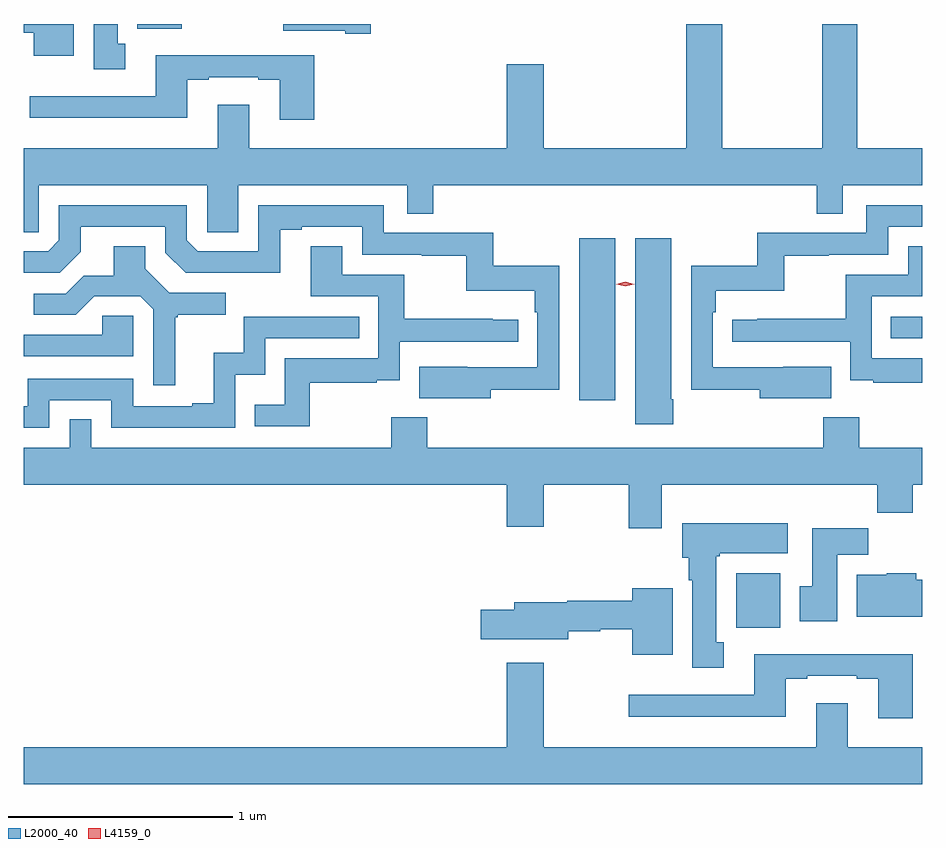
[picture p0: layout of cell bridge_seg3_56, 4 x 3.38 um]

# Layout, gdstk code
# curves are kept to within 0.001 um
import gdstk
lib = gdstk.Library(unit=1e-6, precision=1e-09)
def R(c, l, rs):  # rectangles x0, y0, x1, y1
    for r in rs: c.add(gdstk.rectangle(r[:2], r[2:], *l))
def P(c, l, *ps):  # polygons
    for p in ps: c.add(gdstk.Polygon(p, *l))
L2000_40 = (2000, 40)
L4159_0 = (4159, 0)

bridge_seg3_56 = lib.new_cell('bridge_seg3_56')
R(bridge_seg3_56, L2000_40, [(933.26,682.964,933.457,683.206), (932.561,683.976,932.722,684.697), (933.949,684.252,934.089,684.348), (930.596,685.628,930.793,685.65)])
P(bridge_seg3_56, L2000_40, [(930.156,684.932),(930.906,684.932),(930.906,684.724),(931.045,684.724),(931.045,684.932),(931.797,684.932),(931.797,684.805),(931.913,684.805),(931.913,684.932),(933.619,684.932),(933.619,684.805),(933.735,684.805),(933.735,684.932),(934.089,684.932),(934.089,685.096),(933.798,685.096),(933.798,685.65),(933.643,685.65),(933.643,685.096),(933.198,685.096),(933.198,685.65),(933.038,685.65),(933.038,685.096),(932.404,685.096),(932.404,685.471),(932.24,685.471),(932.24,685.096),(931.093,685.096),(931.093,685.291),(930.953,685.291),(930.953,685.096),(930.089,685.096),(930.089,684.724),(930.156,684.724)],
  [(930.541,685.562),(930.508,685.562),(930.508,685.65),(930.401,685.65),(930.401,685.449),(930.541,685.449)],
  [(930.313,685.65),(930.089,685.65),(930.089,685.612),(930.134,685.612),(930.134,685.508),(930.313,685.508)],
  [(931.633,685.65),(931.244,685.65),(931.244,685.619),(931.52,685.619),(931.52,685.607),(931.633,685.607)],
  [(931.382,685.51),(930.677,685.51),(930.677,685.329),(930.117,685.329),(930.117,685.232),(930.817,685.232),(930.817,685.401),(930.913,685.401),(930.913,685.413),(931.133,685.413),(931.133,685.401),(931.229,685.401),(931.229,685.224),(931.382,685.224)],
  [(933.683,684.124),(933.469,684.124),(933.469,684.123),(933.156,684.123),(933.156,684.368),(933.17,684.368),(933.17,684.464),(933.475,684.464),(933.475,684.619),(933.671,684.619),(933.671,684.624),(933.936,684.624),(933.936,684.747),(934.089,684.747),(934.089,684.843),(933.84,684.843),(933.84,684.72),(933.354,684.72),(933.354,684.574),(933.06,684.574),(933.06,684.022),(933.365,684.022),(933.365,683.984),(933.683,683.984)],
  [(932.167,684.022),(932.472,684.022),(932.472,684.574),(932.179,684.574),(932.179,684.72),(931.692,684.72),(931.692,684.843),(931.134,684.843),(931.134,684.639),(930.864,684.639),(930.816,684.687),(930.816,684.843),(930.246,684.843),(930.246,684.687),(930.198,684.639),(930.089,684.639),(930.089,684.543),(930.249,684.543),(930.343,684.637),(930.343,684.747),(930.72,684.747),(930.72,684.633),(930.81,684.543),(931.231,684.542),(931.231,684.735),(931.327,684.735),(931.327,684.747),(931.596,684.747),(931.596,684.624),(931.861,684.624),(931.861,684.619),(932.058,684.619),(932.058,684.464),(932.363,684.464),(932.363,684.368),(932.376,684.368),(932.376,684.123),(931.849,684.124),(931.849,683.984),(932.167,683.984)],
  [(932.979,683.98),(932.971,683.98),(932.971,684.697),(932.81,684.697),(932.81,683.868),(932.979,683.868)],
  [(934.089,684.162),(933.864,684.162),(933.864,684.438),(934.089,684.438),(934.089,684.662),(934.025,684.662),(934.025,684.534),(933.748,684.534),(933.748,684.338),(933.355,684.338),(933.355,684.333),(933.243,684.333),(933.243,684.237),(933.768,684.237),(933.768,684.065),(933.871,684.065),(933.871,684.054),(934.089,684.054)],
  [(931.363,684.054),(931.661,684.054),(931.661,684.065),(931.764,684.065),(931.764,684.237),(932.29,684.237),(932.29,684.333),(932.177,684.333),(932.177,684.338),(931.784,684.338),(931.784,684.534),(931.507,684.534),(931.507,684.662),(931.367,684.662),(931.367,684.438),(931.668,684.438),(931.668,684.162),(931.252,684.162),(931.252,683.956),(931.117,683.956),(931.117,683.859),(931.363,683.859)],
  [(930.763,684.345),(930.775,684.345),(930.775,684.356),(930.988,684.356),(930.988,684.453),(930.738,684.453),(930.631,684.56),(930.631,684.662),(930.491,684.662),(930.491,684.53),(930.356,684.53),(930.276,684.45),(930.135,684.45),(930.135,684.357),(930.322,684.357),(930.403,684.438),(930.609,684.438),(930.666,684.381),(930.666,684.042),(930.763,684.042)],
  [(930.576,684.351),(930.439,684.351),(930.439,684.267),(930.089,684.267),(930.089,684.171),(930.576,684.171)],
  [(930.204,683.976),(930.48,683.976),(930.48,683.853),(931.032,683.853),(931.032,684.089),(931.164,684.089),(931.164,684.252),(931.583,684.252),(931.583,684.348),(931.068,684.348),(931.068,684.187),(930.935,684.187),(930.935,683.962),(930.839,683.962),(930.839,683.949),(930.576,683.949),(930.576,684.072),(930.108,684.072),(930.108,683.949),(930.089,683.949),(930.089,683.853),(930.204,683.853)],
  [(932.929,683.6),(933.889,683.6),(933.889,683.476),(934.046,683.476),(934.046,683.6),(934.089,683.6),(934.089,683.764),(933.807,683.764),(933.807,683.899),(933.647,683.899),(933.647,683.764),(931.886,683.764),(931.886,683.899),(931.726,683.899),(931.726,683.764),(930.39,683.764),(930.39,683.891),(930.294,683.891),(930.294,683.764),(930.089,683.764),(930.089,683.6),(932.24,683.6),(932.24,683.412),(932.404,683.412),(932.404,683.6),(932.782,683.6),(932.782,683.406),(932.929,683.406)],
  [(933.205,682.898),(933.172,682.898),(933.172,683.281),(933.186,683.281),(933.186,683.294),(933.49,683.294),(933.49,683.428),(933.02,683.428),(933.02,683.274),(933.05,683.274),(933.05,683.174),(933.065,683.174),(933.065,682.785),(933.205,682.785)],
  [(933.709,683.288),(933.848,683.288),(933.848,683.407),(933.599,683.407),(933.599,683.148),(933.542,683.148),(933.542,682.992),(933.709,682.992)],
  [(934.089,683.178),(934.061,683.178),(934.061,683.206),(933.93,683.206),(933.93,683.2),(933.797,683.2),(933.797,683.012),(934.089,683.012)],
  [(932.977,683.14),(932.798,683.14),(932.798,683.084),(932.508,683.084),(932.508,683.077),(932.273,683.077),(932.273,683.043),(932.124,683.043),(932.124,682.913),(932.512,682.913),(932.512,682.948),(932.655,682.948),(932.655,682.956),(932.798,682.956),(932.798,682.844),(932.977,682.844)],
  [(934.046,682.846),(933.341,682.846),(933.341,682.665),(932.781,682.665),(932.781,682.568),(933.481,682.568),(933.481,682.737),(933.577,682.737),(933.577,682.749),(933.797,682.749),(933.797,682.737),(933.893,682.737),(933.893,682.56),(934.046,682.56)],
  [(934.089,682.432),(933.757,682.432),(933.757,682.627),(933.617,682.627),(933.617,682.432),(932.404,682.432),(932.404,682.807),(932.24,682.807),(932.24,682.432),(930.089,682.432),(930.089,682.268),(934.089,682.268)])
P(bridge_seg3_56, L4159_0, [(932.766,684.483),(932.726,684.492),(932.726,684.493),(932.726,684.493),(932.766,684.503),(932.806,684.493),(932.806,684.493),(932.806,684.492)])

lib.write_gds('bridge_seg3_56.gds')
